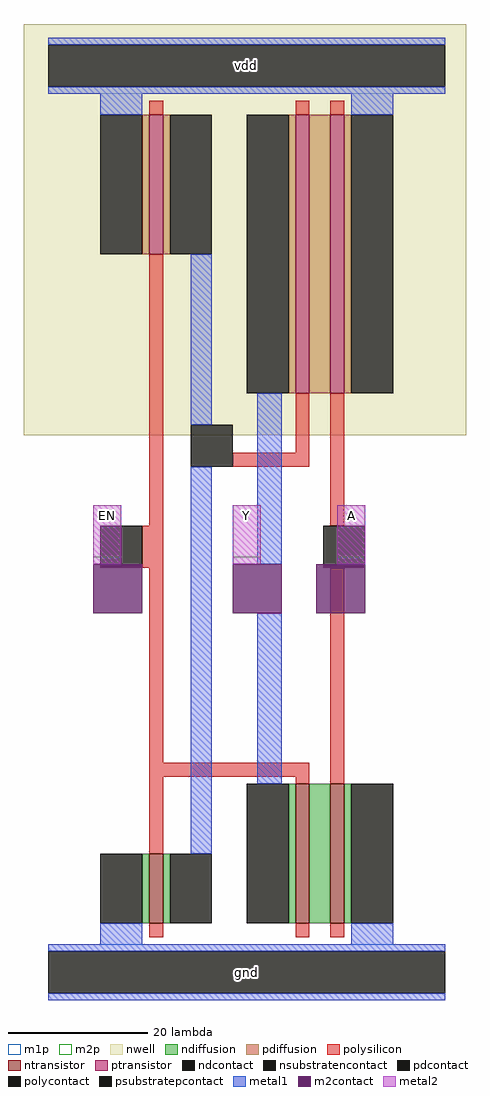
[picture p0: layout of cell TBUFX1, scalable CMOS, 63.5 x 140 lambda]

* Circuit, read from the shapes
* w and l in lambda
.subckt TBUFX1 A EN Y vdd gnd
M1 n1 EN gnd gnd nfet w=10 l=2
M2 n2 EN Y gnd nfet w=20 l=2
M3 gnd A n2 gnd nfet w=20 l=2
M4 n1 EN vdd vdd pfet w=20 l=2
M5 n3 n1 Y vdd pfet w=40 l=2
M6 vdd A n3 vdd pfet w=40 l=2
.ends

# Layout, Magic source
magic
tech scmos
magscale 1 2
<< nwell >>
rect -14 154 113 272
<< ntransistor >>
rect 22 14 26 34
rect 64 14 68 54
rect 74 14 78 54
<< ptransistor >>
rect 22 206 26 246
rect 64 166 68 246
rect 74 166 78 246
<< ndiffusion >>
rect 20 14 22 34
rect 26 14 28 34
rect 62 14 64 54
rect 68 14 74 54
rect 78 14 80 54
<< pdiffusion >>
rect 20 206 22 246
rect 26 206 28 246
rect 62 166 64 246
rect 68 166 74 246
rect 78 166 80 246
<< ndcontact >>
rect 8 14 20 34
rect 28 14 40 34
rect 50 14 62 54
rect 80 14 92 54
<< pdcontact >>
rect 8 206 20 246
rect 28 206 40 246
rect 50 166 62 246
rect 80 166 92 246
<< psubstratepcontact >>
rect -7 -6 107 6
<< nsubstratencontact >>
rect -7 254 107 266
<< polysilicon >>
rect 22 246 26 250
rect 64 246 68 250
rect 74 246 78 250
rect 22 128 26 206
rect 64 149 68 166
rect 46 145 68 149
rect 74 128 78 166
rect 20 116 26 128
rect 22 60 26 116
rect 22 56 68 60
rect 22 34 26 56
rect 64 54 68 56
rect 74 54 78 116
rect 22 10 26 14
rect 64 10 68 14
rect 74 10 78 14
<< polycontact >>
rect 34 145 46 157
rect 8 116 20 128
rect 72 116 84 128
<< metal1 >>
rect -7 266 107 268
rect -7 252 107 254
rect 8 246 20 252
rect 80 246 92 252
rect 34 157 40 206
rect 34 34 40 145
rect 53 117 60 166
rect 53 54 60 103
rect 8 8 20 14
rect 80 8 92 14
rect -7 6 107 8
rect -7 -8 107 -6
<< m2contact >>
rect 6 116 8 117
rect 8 116 20 117
rect 6 103 20 116
rect 46 103 60 117
rect 70 116 72 117
rect 72 116 84 117
rect 70 103 84 116
<< metal2 >>
rect 6 117 14 134
rect 46 117 54 134
rect 76 117 84 134
<< m1p >>
rect -7 252 107 268
rect -7 -8 107 8
<< m2p >>
rect 6 119 14 134
rect 46 119 54 134
rect 76 119 84 134
<< labels >>
rlabel metal2 80 131 80 131 7 A
port 1 n signal input
rlabel metal2 10 131 10 131 1 EN
port 2 n signal input
rlabel metal2 50 131 50 131 1 Y
port 3 n signal output
rlabel metal1 -7 252 107 268 0 vdd
port 4 nsew power bidirectional abutment
rlabel metal1 -7 -8 107 8 0 gnd
port 5 nsew ground bidirectional abutment
<< properties >>
string FIXED_BBOX 0 0 100 260
string LEFclass CORE
string LEFsite core
string LEFsymmetry X Y
<< end >>
